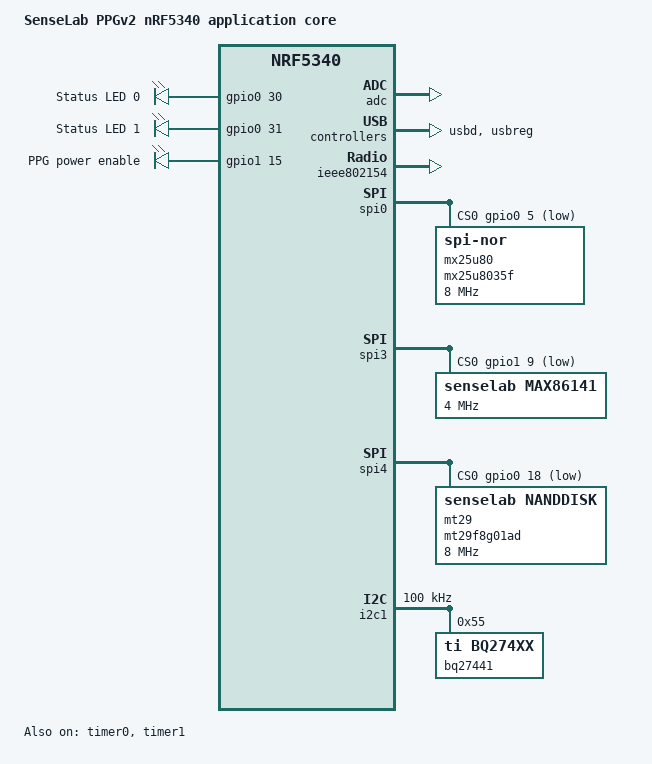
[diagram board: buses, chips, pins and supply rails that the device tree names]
/dts-v1/;

#include <nordic/nrf5340_cpuapp_qkaa.dtsi>
#include <zephyr/dt-bindings/gpio/gpio.h>
#include <zephyr/dt-bindings/i2c/i2c.h>
#include <zephyr/dt-bindings/regulator/nrf5x.h>
#include "ppgv2_nrf5340-pinctrl.dtsi"
#include "../common/nrf5340-icm20948.dtsi"

/ {
	model = "SenseLab PPGv2 nRF5340 application core";
	compatible = "senselab,ppgv2-nrf5340-cpuapp";

	chosen {
		zephyr,console = &cdc_acm_uart0;
		zephyr,shell-uart = &cdc_acm_uart0;
		zephyr,bt-hci = &bt_hci_ipc0;
		nordic,802154-spinel-ipc = &ipc0;
		zephyr,ieee802154 = &ieee802154;
		zephyr,flash = &flash0;
		zephyr,sram = &sram0_image;
		zephyr,code-partition = &slot0_partition;
		zephyr,sram-secure-partition = &sram0_s;
		zephyr,sram-non-secure-partition = &sram0_ns;
	};

	aliases {
		led0 = &led0;
		led1 = &led1;
		led2 = &ppg_power;
		ppg = &max86141;
		ppg-bus = &spi3;
		imu = &icm20948;
		imu-bus = &spi2;
		battery-gauge = &bq27441;
		battery-bus = &i2c1;
		storage-nand = &mt29;
		storage-nor = &mx25u80;
		spi-flash0 = &mt29;
		spi-flash1 = &mx25u80;
		gpio0 = &gpio0;
		gpio1 = &gpio1;
	};

	leds {
		compatible = "gpio-leds";

		led0: led_0 {
			gpios = <&gpio0 30 GPIO_ACTIVE_HIGH>;
			label = "Status LED 0";
		};

		led1: led_1 {
			gpios = <&gpio0 31 GPIO_ACTIVE_HIGH>;
			label = "Status LED 1";
		};

		ppg_power: ppg_power {
			gpios = <&gpio1 15 GPIO_ACTIVE_HIGH>;
			label = "PPG power enable";
		};
	};
};

&adc { status = "okay"; };
&gpiote { status = "okay"; };
&gpio0 { status = "okay"; };
&gpio1 { status = "okay"; };
&timer0 { status = "okay"; };
&timer1 { status = "okay"; };

&uicr { nfct-pins-as-gpios; };
&vregmain { regulator-initial-mode = <NRF5X_REG_MODE_LDO>; };
&vregradio { regulator-initial-mode = <NRF5X_REG_MODE_LDO>; };
&vregh { status = "disabled"; };

&uart0 { status = "disabled"; };
zephyr_udc0: &usbd {
	compatible = "nordic,nrf-usbd";
	status = "okay";

	cdc_acm_uart0: cdc_acm_uart0 {
		compatible = "zephyr,cdc-acm-uart";
	};
};
&usbreg { status = "okay"; };

&ipc0 { status = "okay"; };
&ieee802154 { status = "okay"; };

&spi0 {
	compatible = "nordic,nrf-spim";
	status = "okay";
	cs-gpios = <&gpio0 5 GPIO_ACTIVE_LOW>;
	pinctrl-0 = <&storage_spi_default>;
	pinctrl-1 = <&storage_spi_sleep>;
	pinctrl-names = "default", "sleep";

	mx25u80: mx25u8035f@0 {
		compatible = "jedec,spi-nor";
		reg = <0>;
		size = <8388608>;
		spi-max-frequency = <8000000>;
		jedec-id = [c2 25 34];
		status = "okay";
	};
};

&spi1 { status = "disabled"; };

/* The common ICM-20948 fragment describes physical wiring only. PPGv2 keeps
 * its direct-SPI IMU implementation and enables no competing Zephyr driver. */

&spi3 {
	compatible = "nordic,nrf-spim";
	status = "okay";
	cs-gpios = <&gpio1 9 GPIO_ACTIVE_LOW>;
	pinctrl-0 = <&ppg_spi_default>;
	pinctrl-1 = <&ppg_spi_sleep>;
	pinctrl-names = "default", "sleep";

	max86141: max86141@0 {
		compatible = "senselab,max86141";
		reg = <0>;
		spi-max-frequency = <4000000>;
		status = "okay";
	};
};

&spi4 {
	compatible = "nordic,nrf-spim";
	status = "okay";
	cs-gpios = <&gpio0 18 GPIO_ACTIVE_LOW>, <&gpio0 4 GPIO_ACTIVE_LOW>,
		   <&gpio0 21 GPIO_ACTIVE_LOW>, <&gpio0 19 GPIO_ACTIVE_LOW>;
	pinctrl-0 = <&storage_spi_default>;
	pinctrl-1 = <&storage_spi_sleep>;
	pinctrl-names = "default", "sleep";

	mt29: mt29f8g01ad@0 {
		compatible = "senselab,nanddisk";
		reg = <0>;
		/* One MT29F8G01AD package is exactly 8 Gbit (1 GiB), with two
		 * dies of 131072 4096-byte pages. The driver combines all four
		 * packages via this bus's cs-gpios array. */
		individual-size = <1073741824>;
		num-flashchips = <4>;
		dies-per-flash = <2>;
		page-size = <4096>;
		pages-per-erase-block = <64>;
		spi-max-frequency = <8000000>;
		jedec-id = [ff 2c 47];
		status = "okay";
	};
};

&qspi { status = "disabled"; };

&i2c1 {
	compatible = "nordic,nrf-twim";
	status = "okay";
	clock-frequency = <I2C_BITRATE_STANDARD>;
	pinctrl-0 = <&battery_i2c_default>;
	pinctrl-1 = <&battery_i2c_sleep>;
	pinctrl-names = "default", "sleep";

	bq27441: bq27441@55 {
		compatible = "ti,bq274xx";
		reg = <0x55>;
		design-voltage = <3700>;
		design-capacity = <300>;
		/* BQ25060 context: 30 mA is above the 25.2 mA worst-case
		 * charge-complete threshold for the fitted 5.9 kOhm ISET. */
		taper-current = <30>;
		terminate-voltage = <3000>;
		chemistry-id = <0x0128>;
	};
};

/* MCUboot and the application image use the standard nRF5340 CPUAPP
 * flash/SRAM partition layout. This is logical SoC memory, not DK wiring. */
#include "../common/nrf5340_cpuapp_partition.dtsi"
